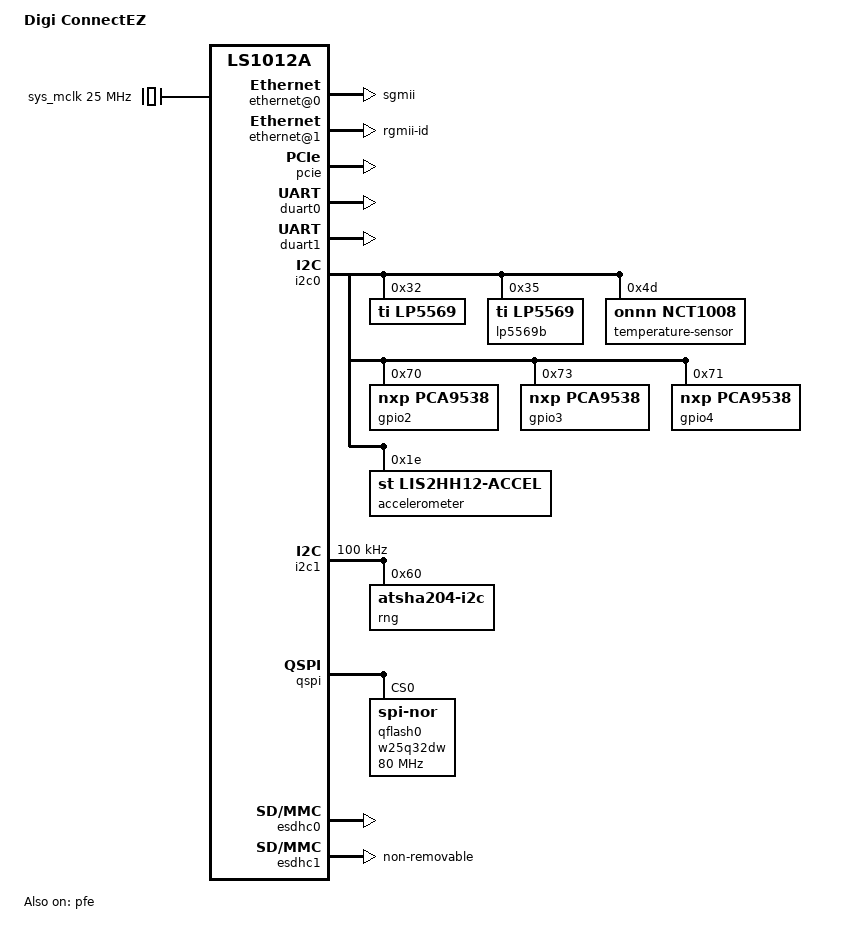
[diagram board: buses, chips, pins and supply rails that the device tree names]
// SPDX-License-Identifier: (GPL-2.0+ OR MIT)
/*
 * Device Tree Include file for Digi ConnectEZ-4.
 *
 * Copyright 2016 Freescale Semiconductor, Inc.
 * Copyright 2018 Digi Inc.
 *
 * Mingkai Hu <mingkai.hu@nxp.com>
 * Greg Ungerer <gregory.ungerer@digi.com>
 */

/dts-v1/;

#include "fsl-ls1012a.dtsi"
#include <dt-bindings/interrupt-controller/arm-gic.h>
#include <dt-bindings/gpio/gpio.h>

/ {
	model = "Digi ConnectEZ";
	compatible = "digi,connectez", "fsl,ls1012a";

	aliases {
		serial0 = &duart0;
		serial1 = &duart1;
	};

	chosen {
		stdout-path = "serial1:115200n8";
	};

	sys_mclk: clock-mclk {
		compatible = "fixed-clock";
		#clock-cells = <0>;
		clock-frequency = <25000000>;
	};

	soc {
		rcpm: rcpm@1ee2000 {
			compatible = "fsl,ls1012a-rcpm", "fsl,qoriq-rcpm-2.1";
			reg = <0x0 0x1ee2000 0x0 0x1000>;
			fsl,#rcpm-wakeup-cells = <1>;
		};
	};

	reserved-memory {
		#address-cells = <2>;
		#size-cells = <2>;
		ranges;

		pfe_reserved: packetbuffer@83400000 {
			reg = <0 0x83400000 0 0xc00000>;
		};
	};

	pfe: pfe@04000000 {
		status = "okay";
		compatible = "fsl,pfe";
		reg =   <0x0 0x04000000 0x0 0xc00000>,	/* AXI 16M */
			<0x0 0x83400000 0x0 0xc00000>;  /* PFE DDR 12M */
		reg-names = "pfe", "pfe-ddr";
		fsl,pfe-num-interfaces = <0x2>;
		interrupts = <0 172 0x4>,    /* HIF interrupt */
			     <0 173 0x4>,    /*HIF_NOCPY interrupt */
			     <0 174 0x4>;    /* WoL interrupt */
		interrupt-names = "pfe_hif", "pfe_hif_nocpy", "pfe_wol";
		memory-region = <&pfe_reserved>;
		fsl,pfe-scfg = <&scfg 0>;
		fsl,rcpm-wakeup = <&rcpm 0xf0000020>;
		clocks = <&clockgen 4 0>;
		clock-names = "pfe";
	};
};

&pcie {
    status = "okay";
};

&duart0 {
	status = "okay";
};

&duart1 {
	status = "okay";
};

&i2c0 {
	status = "okay";

	lp5569a:lp5569@32 {
		compatible = "ti,lp5569";
		reg = <0x32>;
		label = "lp5569";
		clock-mode = /bits/ 8 <1>;  /* internal */

		chan0 {
			chan-name = "pwr1b";
			led-cur = /bits/ 8 <0x18>;  /* 2.4mA */
			max-cur = /bits/ 8 <0x18>;  /* 2.4mA */
			invert = /bits/ 8 <0x01>;   /* inverted LED */
			linux,default-trigger = "timer";
		};

		chan1 {
			chan-name = "pwr1g";
			led-cur = /bits/ 8 <0x03>;  /* 0.3mA */
			max-cur = /bits/ 8 <0x18>;  /* 2.4mA */
			linux,default-trigger = "timer";
		};

		chan2 {
			chan-name = "pwr1r";
			led-cur = /bits/ 8 <0x18>;  /* 2.4mA */
			max-cur = /bits/ 8 <0x18>;  /* 2.4mA */
			linux,default-trigger = "timer";
		};

		chan3 {
			chan-name = "b01";
			led-cur = /bits/ 8 <0x18>;  /* 2.4mA */
			max-cur = /bits/ 8 <0x18>;  /* 2.4mA */
			linux,default-trigger = "timer";
		};

		chan4 {
			chan-name = "g01";
			led-cur = /bits/ 8 <0x03>;  /* 0.3mA */
			max-cur = /bits/ 8 <0x18>;  /* 2.4mA */
			linux,default-trigger = "timer";
		};

		chan5 {
			chan-name = "r01";
			led-cur = /bits/ 8 <0x18>;  /* 2.4mA */
			max-cur = /bits/ 8 <0x18>;  /* 2.4mA */
			linux,default-trigger = "timer";
		};

		chan6 {
			chan-name = "b02";
			led-cur = /bits/ 8 <0x18>;  /* 2.4mA */
			max-cur = /bits/ 8 <0x18>;  /* 2.4mA */
			linux,default-trigger = "timer";
		};

		chan7 {
			chan-name = "g02";
			led-cur = /bits/ 8 <0x03>;  /* 0.3mA */
			max-cur = /bits/ 8 <0x18>;  /* 2.4mA */
			linux,default-trigger = "timer";
		};

		chan8 {
			chan-name = "r02";
			led-cur = /bits/ 8 <0x18>;  /* 2.4mA */
			max-cur = /bits/ 8 <0x18>;  /* 2.4mA */
			linux,default-trigger = "timer";
		};
	};

	lp5569b:lp5569@35 {
		compatible = "ti,lp5569";
		reg = <0x35>;
		label = "lp5569b";
		clock-mode = /bits/ 8 <1>;  /* internal */

		chan0 {
			chan-name = "b03";
			led-cur = /bits/ 8 <0x18>;  /* 2.4mA */
			max-cur = /bits/ 8 <0x18>;  /* 2.4mA */
			linux,default-trigger = "timer";
		};

		chan1 {
			chan-name = "g03";
			led-cur = /bits/ 8 <0x03>;  /* 0.3mA */
			max-cur = /bits/ 8 <0x18>;  /* 2.4mA */
			linux,default-trigger = "timer";
		};

		chan2 {
			chan-name = "r03";
			led-cur = /bits/ 8 <0x18>;  /* 2.4mA */
			max-cur = /bits/ 8 <0x18>;  /* 2.4mA */
			linux,default-trigger = "timer";
		};
	};

	temperature-sensor@4d {
		compatible = "onnn,nct1008"; /* nct72 reg/pin compatible */
		reg = <0x4d>;
	};

	gpio2: pca9538@70 {
		compatible = "nxp,pca9538";
		reg = <0x70>;
		pinctrl-names = "default";
		gpio-controller;
	};

	gpio3: pca9538@73 {
		compatible = "nxp,pca9538";
		reg = <0x73>;
		pinctrl-names = "default";
		gpio-controller;
	};

	gpio4: pca9538@71 {
		compatible = "nxp,pca9538";
		reg = <0x71>;
		pinctrl-names = "default";
		gpio-controller;
	};

	accelerometer@1e {
		compatible = "st,lis2hh12-accel";
		reg = <0x1e>;
	};
};

&i2c1 {
	clock-frequency = <100000>;
	status = "okay";

	rng: atecc508a@60 {
		compatible = "atsha204-i2c";
		reg = <0x60>;
	};
};

&qspi {
	num-cs = <1>;
	bus-num = <0>;
	status = "okay";

	qflash0: w25q32dw@0 {
		compatible = "jedec,spi-nor";
		#address-cells = <1>;
		#size-cells = <1>;
		spi-max-frequency = <80000000>;
		spi-rx-bus-width = <1>;
		spi-tx-bus-width = <1>;
		reg = <0>;
	};
};

&pfe {
	status = "okay";
	#address-cells = <1>;
	#size-cells = <0>;

	ethernet@0 {
		compatible = "fsl,pfe-gemac-port";
		#address-cells = <1>;
		#size-cells = <0>;
		reg = <0x0>;    /* GEM_ID */
		fsl,gemac-bus-id = <0x0>; /* BUS_ID */
		fsl,gemac-phy-id = <0x0>; /* PHY_ID */
		fsl,mdio-mux-val = <0x0>;
		phy-mode = "sgmii"; /* use strapped tx/rx delay */
		fsl,pfe-phy-if-flags = <0x0>;

		mdio {
			reg = <0x1>; /* enabled/disabled */
		};
	};

	ethernet@1 {
		compatible = "fsl,pfe-gemac-port";
		#address-cells = <1>;
		#size-cells = <0>;
		reg = <0x1>;    /* GEM_ID */
		fsl,gemac-bus-id = <0x0>; /* BUS_ID */
		fsl,gemac-phy-id = <0x1>; /* PHY_ID */
		fsl,mdio-mux-val = <0x0>;
		phy-mode = "rgmii-id"; /* use strapped tx/rx delay */
		fsl,pfe-phy-if-flags = <0x0>;

		mdio {
			reg = <0x1>; /* enabled/disabled */
		};
	};
};

&usb0 {
	status = "disabled";
};

&usb1 {
	status = "disabled";
};

&esdhc0 {
	mmc-ddr-1_8v;
	mmc-hs200-1_8v;
	mmc-hs400-1_8v;
	mmc-hs200-1_8v;
	status = "okay";
};

&esdhc1 {
	mmc-ddr-1_8v;
	non-removable;
	max-frequency = <1000000>;
	status = "okay";
};

&gpio0 {
	gpio-line-names = "", "", "", "", "", "", "", "",
			  "", "", "", "", "", "", "", "",
			  "", "", "", "", "", "", "", "",
			  "factory", "", "", "", "", "", "", "";
};
